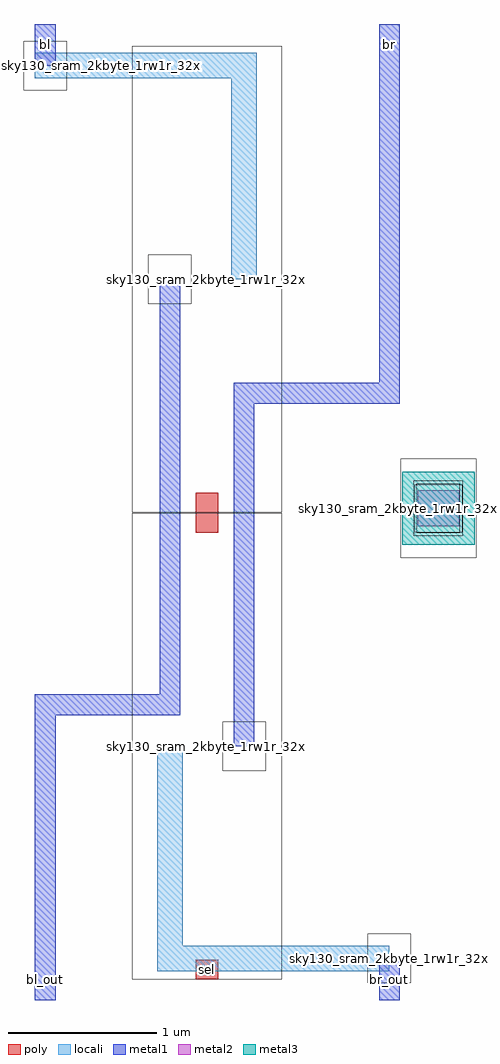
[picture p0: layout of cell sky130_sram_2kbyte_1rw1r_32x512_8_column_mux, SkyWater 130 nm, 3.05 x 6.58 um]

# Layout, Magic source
magic
tech sky130A
magscale 1 2
<< poly >>
rect 297 630 327 684
rect 297 28 327 54
<< locali >>
rect 80 1243 379 1277
rect 345 972 379 1243
rect 245 73 279 342
rect 245 39 558 73
<< metal1 >>
rect 80 1260 108 1316
rect 248 412 276 972
rect 544 832 572 1316
rect 80 384 276 412
rect 348 804 572 832
rect 80 0 108 384
rect 348 342 376 804
rect 544 0 572 56
<< metal2 >>
rect 596 639 652 687
<< metal3 >>
rect 575 614 673 712
use sky130_sram_2kbyte_1rw1r_32x512_8_contact_15  sky130_sram_2kbyte_1rw1r_32x512_8_contact_15_0
transform 1 0 599 0 1 622
box -26 -26 76 108
use sky130_sram_2kbyte_1rw1r_32x512_8_nmos_m1_w2_880_sli_dli  sky130_sram_2kbyte_1rw1r_32x512_8_nmos_m1_w2_880_sli_dli_1
transform 1 0 237 0 1 54
box -26 -26 176 602
use sky130_sram_2kbyte_1rw1r_32x512_8_nmos_m1_w2_880_sli_dli  sky130_sram_2kbyte_1rw1r_32x512_8_nmos_m1_w2_880_sli_dli_0
transform 1 0 237 0 1 684
box -26 -26 176 602
use sky130_sram_2kbyte_1rw1r_32x512_8_contact_7  sky130_sram_2kbyte_1rw1r_32x512_8_contact_7_0
transform 1 0 591 0 1 626
box 0 0 66 74
use sky130_sram_2kbyte_1rw1r_32x512_8_contact_19  sky130_sram_2kbyte_1rw1r_32x512_8_contact_19_0
transform 1 0 592 0 1 631
box 0 0 64 64
use sky130_sram_2kbyte_1rw1r_32x512_8_contact_14  sky130_sram_2kbyte_1rw1r_32x512_8_contact_14_0
transform 1 0 595 0 1 630
box 0 0 58 66
use sky130_sram_2kbyte_1rw1r_32x512_8_contact_14  sky130_sram_2kbyte_1rw1r_32x512_8_contact_14_1
transform 1 0 333 0 1 309
box 0 0 58 66
use sky130_sram_2kbyte_1rw1r_32x512_8_contact_14  sky130_sram_2kbyte_1rw1r_32x512_8_contact_14_2
transform 1 0 233 0 1 939
box 0 0 58 66
use sky130_sram_2kbyte_1rw1r_32x512_8_contact_14  sky130_sram_2kbyte_1rw1r_32x512_8_contact_14_3
transform 1 0 529 0 1 23
box 0 0 58 66
use sky130_sram_2kbyte_1rw1r_32x512_8_contact_14  sky130_sram_2kbyte_1rw1r_32x512_8_contact_14_4
transform 1 0 65 0 1 1227
box 0 0 58 66
<< labels >>
rlabel metal3 s 575 614 673 712 4 gnd
rlabel metal1 s 80 1260 108 1316 4 bl
rlabel metal1 s 544 1260 572 1316 4 br
rlabel metal1 s 80 0 108 56 4 bl_out
rlabel metal1 s 544 0 572 56 4 br_out
rlabel poly s 312 41 312 41 4 sel
<< properties >>
string FIXED_BBOX 0 0 624 1316
<< end >>
